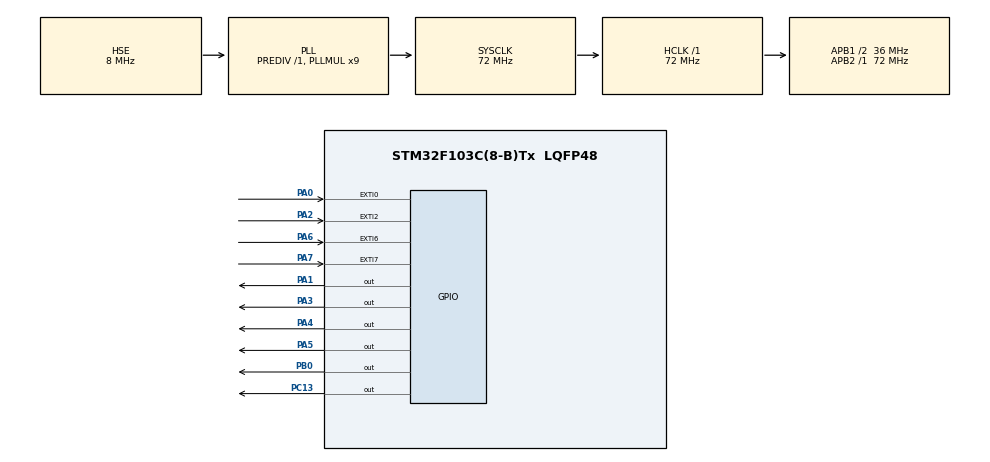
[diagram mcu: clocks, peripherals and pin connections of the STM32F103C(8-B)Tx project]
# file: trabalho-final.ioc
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Mcu.Family=STM32F1
Mcu.Name=STM32F103C(8-B)Tx
Mcu.Package=LQFP48
NVIC.EXTI0_IRQn=true\:0\:0\:false\:false\:true\:true\:true\:true
NVIC.EXTI2_IRQn=true\:0\:0\:false\:false\:true\:true\:true\:true
NVIC.EXTI9_5_IRQn=true\:0\:0\:false\:false\:true\:true\:true\:true
NVIC.PriorityGroup=NVIC_PRIORITYGROUP_4
PA0-WKUP.GPIO_ModeDefaultEXTI=GPIO_MODE_IT_RISING_FALLING
PA0-WKUP.GPIO_PuPd=GPIO_PULLUP
PA0-WKUP.Signal=GPXTI0
PA1.Signal=GPIO_Output
PA13.Mode=Serial_Wire
PA13.Signal=SYS_JTMS-SWDIO
PA14.Mode=Serial_Wire
PA14.Signal=SYS_JTCK-SWCLK
PA2.GPIO_ModeDefaultEXTI=GPIO_MODE_IT_RISING_FALLING
PA2.GPIO_PuPd=GPIO_PULLUP
PA2.Signal=GPXTI2
PA3.Signal=GPIO_Output
PA4.Signal=GPIO_Output
PA5.Signal=GPIO_Output
PA6.GPIO_ModeDefaultEXTI=GPIO_MODE_IT_RISING_FALLING
PA6.GPIO_PuPd=GPIO_PULLUP
PA6.Signal=GPXTI6
PA7.GPIO_ModeDefaultEXTI=GPIO_MODE_IT_RISING_FALLING
PA7.GPIO_PuPd=GPIO_PULLUP
PA7.Signal=GPXTI7
PB0.Signal=GPIO_Output
PC13-TAMPER-RTC.Signal=GPIO_Output
PD0-OSC_IN.Mode=HSE-External-Oscillator
PD0-OSC_IN.Signal=RCC_OSC_IN
PD1-OSC_OUT.Mode=HSE-External-Oscillator
PD1-OSC_OUT.Signal=RCC_OSC_OUT
ProjectManager.HeapSize=0x200
ProjectManager.StackSize=0x400
ProjectManager.TargetToolchain=CMake
RCC.AHBFreq_Value=72000000
RCC.APB1CLKDivider=RCC_HCLK_DIV2
RCC.APB1Freq_Value=36000000
RCC.APB1TimFreq_Value=72000000
RCC.APB2Freq_Value=72000000
RCC.APB2TimFreq_Value=72000000
RCC.HCLKFreq_Value=72000000
RCC.PLLMUL=RCC_PLL_MUL9
RCC.PLLSourceVirtual=RCC_PLLSOURCE_HSE
RCC.SYSCLKFreq_VALUE=72000000
RCC.SYSCLKSource=RCC_SYSCLKSOURCE_PLLCLK
RCC.USBFreq_Value=72000000
board=custom

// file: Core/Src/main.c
/* USER CODE BEGIN Header */
/**
  ******************************************************************************
  * @file           : main.c
  * @brief          : Main program body
  ******************************************************************************
  */
/* USER CODE END Header */

#include "main.h"

/* USER CODE BEGIN Includes */
#include <stdlib.h> // CONCEITO: "Includes" são como pegar ferramentas ou manuais
                    // emprestados de uma biblioteca. O "stdlib.h" nos dá a
                    // ferramenta para gerar números aleatórios (para sortear os LEDs).
/* USER CODE END Includes */

/* USER CODE BEGIN PTD */

// CONCEITO: "Struct" (Estrutura) é como criar uma ficha de cadastro personalizada.
// Em vez de termos variáveis soltas para cada botão, criamos uma "ficha" chamada Botao
// que guarda todas as informações que precisamos saber sobre ele em um lugar só.
typedef struct {
  uint8_t   evento;             // O botão foi apertado ou solto? (1 = sim, 0 = não)
  uint32_t  ultimoTick;         // Quando foi a última vez que mexeram nele? (para ignorar ruídos)
  uint8_t   pressionado;        // Ele está afundado agora? (1 = sim, 0 = não)
  uint32_t  tempoPressionado;   // Em que milissegundo ele foi afundado?
} Botao;

// CONCEITO: "Enum" é uma lista de opções fixas, como as marchas de um carro (P, R, N, D).
// Aqui definimos os 3 "modos de humor" (Estados) em que a nossa placa pode estar.
typedef enum {
  ESTADO_IDLE,        // Modo de descanso (luzes piscando em círculo)
  ESTADO_JOGAR,       // Modo de jogo valendo
  ESTADO_CONFIGURAR   // Modo para escolher a dificuldade
} Estado;

/* USER CODE END PTD */

/* USER CODE BEGIN PD */

// CONCEITO: "Defines" são apelidos. Para o humano é mais fácil ler "LED_VERM" (Led Vermelho).
// Para a máquina, é mais fácil entender "GPIO_PIN_1". O define faz a tradução automática.
#define PORTA_DOS_LEDS  GPIOA
#define LED_VERM        GPIO_PIN_1
#define LED_AMAR        GPIO_PIN_3
#define LED_AZUL        GPIO_PIN_4
#define LED_VERD        GPIO_PIN_5

#define PORTA_DOS_BOTOES GPIOA
#define BOTAO_VERM       GPIO_PIN_0
#define BOTAO_AMAR       GPIO_PIN_2
#define BOTAO_AZUL       GPIO_PIN_7
#define BOTAO_VER        GPIO_PIN_6

#define PORTA_DO_BUZZER GPIOB
#define BUZZER          GPIO_PIN_0

#define MS_DE_DEBOUNCE 40     // Tempo para ignorar o "tremor" mecânico da mola do botão
#define MS_SEGURANDO 800      // Tempo mínimo (em milissegundos) para considerar que o botão foi "segurado"

/* USER CODE END PD */

/* USER CODE BEGIN PV */

// CONCEITO: Variáveis são "caixinhas" na memória onde guardamos números.
// Quando usamos colchetes [4], criamos um "Array" (como um armário com 4 gavetas),
// onde guardamos os pinos de todos os 4 LEDs de uma vez só.
uint16_t leds[4] = {
    LED_VERM,
    LED_AMAR,
    LED_AZUL,
    LED_VERD
};

// Criamos 4 "fichas de cadastro" (Structs que definimos lá em cima), uma para cada botão.
Botao botoes[4];

uint16_t pinos_botoes[4] = {
  BOTAO_VERM,
  BOTAO_AMAR,
  BOTAO_AZUL,
  BOTAO_VER
};

Estado estado_atual = ESTADO_IDLE; // A placa sempre liga no modo de descanso (IDLE)

// Configurações do jogo
uint8_t modo_pvp     = 0; // 0 = joga contra a máquina, 1 = joga contra outra pessoa
uint8_t dificuldade  = 1; // 0 = difícil, 1 = médio, 3 = fácil
uint32_t tempo_led   = 700;
uint32_t tempo_input = 2500;

// Variáveis do motor do jogo
uint8_t sequencia[32];     // Um armário com 32 gavetas: guarda até 32 cores sorteadas!
uint8_t sequencia_len = 0; // Quantas cores a sequência atual tem?
uint8_t passo_atual   = 0; // Em qual cor o jogador está no momento?
uint8_t fase_jogo     = 0; // 0 = Mostrar cores, 1 = Repetir, 2 = Criar cor (PVP), 3 = Pausa
uint32_t timer_jogo   = 0; // Um cronômetro interno para o jogo

uint8_t vez_do_p1     = 0;

static uint32_t ultima_vez_no_systick = 0; // Cronômetro para o LED da placa piscar

/* USER CODE END PV */

void SystemClock_Config(void);
static void MX_GPIO_Init(void);
void processarJogo(void); // Avisamos o sistema que esta função existe
/* USER CODE BEGIN PFP */

// CONCEITO: Uma "Função" é como uma receita de bolo. Você dá os ingredientes (no parênteses)
// e ela te devolve um resultado final. Aqui, damos o pino eletrônico e ela nos diz
// se é o botão 0, 1, 2 ou 3.
int obterIndiceDoBotaoPorPino(uint16_t pino){
  if (pino == BOTAO_VERM) return 0;
  if (pino == BOTAO_AMAR) return 1;
  if (pino == BOTAO_AZUL) return 2;
  if (pino == BOTAO_VER) return 3;
  return -1; // Se não for nenhum, retorna -1 (erro)
}

void iniciarJogo(void) {
    srand(HAL_GetTick());
    sequencia_len = 0;
    passo_atual   = 0;
    vez_do_p1     = 1; // marca de quem é a vez

    if (modo_pvp == 0) {
        // Contra a máquina: já sorteia a primeira cor e vai pra PAUSA
        sequencia[sequencia_len++] = rand() % 4;
        fase_jogo = 3; // Começa na fase de "respiro"
        timer_jogo = HAL_GetTick();
    } else {
        // PVP: Sequência vazia, vai direto pedir pro Player 1 criar a cor
        fase_jogo = 2; // Fase de criar a cor
        timer_jogo = HAL_GetTick();
    }
}

void trocarEstado(void){
  // Troca a "marcha" do jogo dependendo de onde estamos agora
  switch (estado_atual) {
    case ESTADO_CONFIGURAR:
      estado_atual = ESTADO_JOGAR;
      iniciarJogo(); // Quando sai da configuração, liga o jogo!
      break;

    case ESTADO_JOGAR:
      estado_atual = ESTADO_IDLE;
      break;

    case ESTADO_IDLE:
      estado_atual = ESTADO_CONFIGURAR;
      break;

  }
}

void ajustarLeds(void){
  // Primeiro, apaga todos os LEDs
  for (int i = 0; i < 4; i++){
    HAL_GPIO_WritePin(PORTA_DOS_LEDS, leds[i], GPIO_PIN_RESET);
  }
  // Se estivermos na tela de configurar, acende apenas o LED da dificuldade escolhida
  if (estado_atual == ESTADO_CONFIGURAR){
    HAL_GPIO_WritePin(PORTA_DOS_LEDS, leds[dificuldade], GPIO_PIN_SET);
  }
}

void game_over(void) {
    // Pisca todos os LEDs e apita 3 vezes para avisar que perdeu
    for (int x = 0; x < 3; x++) {
        HAL_GPIO_WritePin(PORTA_DOS_LEDS, LED_VERM|LED_AMAR|LED_AZUL|LED_VERD, GPIO_PIN_SET);
        HAL_GPIO_WritePin(PORTA_DO_BUZZER, BUZZER, GPIO_PIN_SET);
        HAL_Delay(100); // Congela a placa por 100 milissegundos, aqui não faz mal congelar ela.
        HAL_GPIO_WritePin(PORTA_DOS_LEDS, LED_VERM|LED_AMAR|LED_AZUL|LED_VERD, GPIO_PIN_RESET);
        HAL_GPIO_WritePin(PORTA_DO_BUZZER, BUZZER, GPIO_PIN_RESET);
        HAL_Delay(100);
    }
    trocarEstado();  // Sai do JOGAR e vai para IDLE
}

// Essa função olha para todos os botões e decide se alguém apertou algo
void processarBotao(void){
    uint32_t agora = HAL_GetTick(); // Que horas são agora? (em milissegundos)

    // Repete o bloco abaixo 4 vezes (uma para cada botão)
    for (int i = 0; i < 4; i++){
        if (!botoes[i].evento) continue; // Se o botão não avisou de novidade, ignora.

        // Se a novidade aconteceu rápido demais (menos de 40ms), é ruído do metal. Ignora!
        if (agora - botoes[i].ultimoTick < MS_DE_DEBOUNCE){
            botoes[i].evento = 0;
            continue;
        }

        // Lê se o botão está no fundo (RESET/Apertado) ou em cima (SET/Solto)
        uint8_t estado_do_pino = HAL_GPIO_ReadPin(PORTA_DOS_BOTOES, pinos_botoes[i]);

        // ── PRESSIONADO ─────────────────────────────────
        if (estado_do_pino == GPIO_PIN_RESET)
        {
            botoes[i].pressionado = 1;
            botoes[i].tempoPressionado = agora; // Marca no relógio a hora que afundou
            botoes[i].evento = 0;

            // NOVO: Feedback visual! Se é a vez do jogador, acende o LED assim que ele afunda o dedo.
            if (estado_atual == ESTADO_JOGAR && fase_jogo == 1) {
                HAL_GPIO_WritePin(PORTA_DOS_LEDS, leds[i], GPIO_PIN_SET);
            }
        }
        // ── SOLTO ────────────────────────────────────────
        else
        {
            // Calcula quanto tempo ficou afundado
            uint32_t duracao = agora - botoes[i].tempoPressionado;
            botoes[i].pressionado = 0;
            botoes[i].evento = 0;
            botoes[i].ultimoTick = agora;

            // NOVO: O dedo soltou o botão, então apagamos o LED imediatamente.
            if (estado_atual == ESTADO_JOGAR && fase_jogo == 1) {
                HAL_GPIO_WritePin(PORTA_DOS_LEDS, leds[i], GPIO_PIN_RESET);
            }

            if (duracao >= MS_SEGURANDO) // Se ficou segurando mais de 800ms
            {
                if (i == 1){ // Se foi o botão amarelo (índice 1)
                  trocarEstado();
                  ajustarLeds();
                }
            }
            else // Se foi um clique rápido
            {
                switch (estado_atual) {
                  case ESTADO_IDLE:
                    break; // Não faz nada no descanso

                  case ESTADO_JOGAR:
                    if (fase_jogo == 1) { // ── O JOGADOR ESTÁ REPETINDO ──
                      if (i == sequencia[passo_atual]) {  // Acertou a cor!
                          HAL_GPIO_TogglePin(PORTA_DO_BUZZER, BUZZER);
                          passo_atual++;
                          timer_jogo = HAL_GetTick();

                          if (passo_atual >= sequencia_len) {
                              // Acertou tudo! O que acontece agora?
                              if (modo_pvp == 0) {
                                  // Máquina: Sorteia uma cor sozinha e vai pra pausa
                                  if (sequencia_len < 32) {
                                    sequencia[sequencia_len++] = rand() % 4;
                                  } else {
                                      // jogador ganhou, faz algo especial
                                      game_over();  // ou uma animação de vitória
                                  }
                                  passo_atual = 0;
                                  fase_jogo = 3;
                                  timer_jogo = HAL_GetTick();
                              } else {
                                  // PVP: Fica aguardando o jogador inventar o próximo passo
                                  fase_jogo = 2;
                                  timer_jogo = HAL_GetTick();
                              }
                          }
                      } else {
                          game_over();  // Apertou o botão errado.
                      }
                    }
                    else if (fase_jogo == 2) { // ── PVP: O JOGADOR ESTÁ CRIANDO A COR ──
                        HAL_GPIO_TogglePin(PORTA_DO_BUZZER, BUZZER);
                        if (sequencia_len < 32) {
                          sequencia[sequencia_len++] = rand() % 4;
                        } else {
                          // jogador ganhou, faz algo especial
                          game_over();  // ou uma animação de vitória
                        }
                        passo_atual = 0;
                        vez_do_p1 = !vez_do_p1; // Troca a vez do jogador
                        fase_jogo = 3; // Vai para a pausa de 1 segundo
                        timer_jogo = HAL_GetTick();
                    }
                    break;

                  case ESTADO_CONFIGURAR:
                    if (i == 0) { // Dificil (Botão vermelho)
                        dificuldade = 0;
                        tempo_led   = 400;  // Pisca mais rápido
                        tempo_input = 1500; // Menos tempo pra pensar
                        HAL_GPIO_WritePin(PORTA_DOS_LEDS, LED_VERM, GPIO_PIN_SET);
                        HAL_GPIO_WritePin(PORTA_DOS_LEDS, LED_AMAR, GPIO_PIN_RESET);
                        HAL_GPIO_WritePin(PORTA_DOS_LEDS, LED_VERD, GPIO_PIN_RESET);
                    }
                    if (i == 1) { // Média (Botão amarelo)
                        dificuldade = 1;
                        tempo_led   = 700;
                        tempo_input = 2500;
                        HAL_GPIO_WritePin(PORTA_DOS_LEDS, LED_VERM, GPIO_PIN_RESET);
                        HAL_GPIO_WritePin(PORTA_DOS_LEDS, LED_AMAR, GPIO_PIN_SET);
                        HAL_GPIO_WritePin(PORTA_DOS_LEDS, LED_VERD, GPIO_PIN_RESET);
                    }
                    if (i == 3) { // Fácil (Botão verde)
                        dificuldade = 3;
                        tempo_led   = 1000; // Pisca bem devagar
                        tempo_input = 4000; // Dá 4 segundos para pensar
                        HAL_GPIO_WritePin(PORTA_DOS_LEDS, LED_VERM, GPIO_PIN_RESET);
                        HAL_GPIO_WritePin(PORTA_DOS_LEDS, LED_AMAR, GPIO_PIN_RESET);
                        HAL_GPIO_WritePin(PORTA_DOS_LEDS, LED_VERD, GPIO_PIN_SET);
                    }
                    if (i == 2) { // PVP (Botão azul)
                        modo_pvp = !modo_pvp; // Inverte o modo (liga/desliga)
                    }
                    break;
                }
            }
        }
    }
}

// CONCEITO: Essa é a função principal que processa a lógica de tempo do jogo.
void processarJogo(void) {
    uint32_t agora = HAL_GetTick(); // Pega a hora atual do cronômetro interno

    // Variáveis "static" não morrem quando a função acaba, elas guardam o último valor.
    static uint32_t timer_animacao = 0;
    static uint8_t led_acesso_i_idle = 0;
    static uint8_t pulsos = 0;

    switch (estado_atual) {
        case ESTADO_IDLE:
            // Faz um giro pelos LEDs a cada 150 milissegundos
            if (agora - timer_animacao >= 150) {
                timer_animacao = agora;
                // Apaga o LED anterior e acende o atual
                HAL_GPIO_WritePin(PORTA_DOS_LEDS, leds[(led_acesso_i_idle + 3) % 4], GPIO_PIN_RESET);
                HAL_GPIO_WritePin(PORTA_DOS_LEDS, leds[led_acesso_i_idle], GPIO_PIN_SET);
                led_acesso_i_idle = (led_acesso_i_idle + 1) % 4; // Avança para o próximo da fila
            }
            break;

        case ESTADO_JOGAR:
            if (fase_jogo == 3) { // Pausa dramática antes de mostrar
                // Fica 1000ms (1 seg) aguardando antes de começar a piscar
                if (agora - timer_jogo > 1000) {
                    fase_jogo = 0; // Acabou a pausa, vai para a fase de mostrar
                    timer_jogo = agora;
                }
            }
            else if (fase_jogo == 0) {  // Modo: Máquina mostrando as cores
                if (agora - timer_jogo < tempo_led) {
                    HAL_GPIO_WritePin(PORTA_DOS_LEDS, leds[sequencia[passo_atual]], GPIO_PIN_SET);
                    HAL_GPIO_WritePin(PORTA_DO_BUZZER, BUZZER, GPIO_PIN_SET);
                }
                else if (agora - timer_jogo < (tempo_led + 200)) {
                    HAL_GPIO_WritePin(PORTA_DOS_LEDS, leds[sequencia[passo_atual]], GPIO_PIN_RESET);
                    HAL_GPIO_WritePin(PORTA_DO_BUZZER, BUZZER, GPIO_PIN_RESET);
                }
                else {
                    passo_atual++;
                    timer_jogo = agora;

                    if (passo_atual >= sequencia_len) {
                        passo_atual = 0;
                        fase_jogo   = 1;    // Passa a vez pro jogador repetir
                        timer_jogo  = agora;
                    }
                }
            }
            else if (fase_jogo == 1) {  // Modo: Esperando clique (Repetir ou Criar)
                if (agora - timer_jogo > tempo_input) {
                    game_over();  // Demorou demais pra apertar? Morreu.
                }
            }
            break;

        case ESTADO_CONFIGURAR:
            // Animação para mostrar se estamos no modo PVP ou Máquina
            if (agora - timer_animacao >= 150) {
                timer_animacao = agora;
                if (modo_pvp == 0) {
                    if (pulsos < 1) {
                        HAL_GPIO_TogglePin(PORTA_DOS_LEDS, leds[2]); // Pisca o LED azul
                        pulsos++;
                    } else {
                        pulsos = 0;
                    }
                } else {
                    HAL_GPIO_TogglePin(PORTA_DOS_LEDS, leds[2]);
                    pulsos++;
                    if (pulsos >= 4) pulsos = 0;
                }
            }
            break;
    }
}

/* USER CODE END PFP */

/* USER CODE BEGIN 0 */

// CONCEITO: Uma "Interrupção" (Callback) é como alguém tocando a campainha da sua casa.
// Não importa o que a placa esteja fazendo (cozinhando, limpando), ela para imediatamente,
// abre a porta, e executa essa função. Aqui, a porta é um botão sendo apertado.
void HAL_GPIO_EXTI_Callback(uint16_t GPIO_Pin){
  int i = obterIndiceDoBotaoPorPino(GPIO_Pin);
  if (i < 0) return; // Se não é um dos 4 botões, ignora.

  botoes[i].evento = 1; // "Levanta a bandeira" avisando que esse botão foi tocado.
}

// CONCEITO: O "SysTick" é o coração da placa batendo a cada 1 milissegundo.
// Limpamos ele para fazer o mínimo de esforço possível, assim a placa não trava.
void HAL_SYSTICK_Callback(void){
  uint32_t agora = HAL_GetTick();

  // Acende e apaga o LED da placa (PC13) a cada 150ms apenas para sabermos que ela está ligada.
  if (agora - ultima_vez_no_systick >= 50) {
      HAL_GPIO_TogglePin(GPIOC, GPIO_PIN_13);
      ultima_vez_no_systick = agora;
  }
}

/* USER CODE END 0 */

int main(void)
{
  /* MCU Configuration--------------------------------------------------------*/

  /* Reset of all peripherals, Initializes the Flash interface and the Systick. */
  HAL_Init();

  /* Configure the system clock */
  SystemClock_Config();

  /* Initialize all configured peripherals */
  MX_GPIO_Init();

  /* Infinite loop */
  /* USER CODE BEGIN WHILE */

  // CONCEITO: O Loop Principal (while(1)) é a rotina eterna do microcontrolador.
  // Ele vai ler e executar essas duas linhas sem parar, milhões de vezes por segundo,
  // até alguém puxar o cabo da tomada.
  while (1)
  {
    /* USER CODE END WHILE */

    /* USER CODE BEGIN 3 */
    processarBotao(); // 1. Verifica se alguém apertou algum botão
    processarJogo();  // 2. Processa as regras, luzes e tempos do jogo
  }
  /* USER CODE END 3 */
}

// NOTA: As funções de configuração de hardware (SystemClock_Config, MX_GPIO_Init, etc.)
// geradas automaticamente pelo STM32Cube foram mantidas intactas, ocultadas aqui por brevidade
// já que você não precisa alterá-las para a lógica do jogo funcionar.

void SystemClock_Config(void)
{
  RCC_OscInitTypeDef RCC_OscInitStruct = {0};
  RCC_ClkInitTypeDef RCC_ClkInitStruct = {0};

  RCC_OscInitStruct.OscillatorType = RCC_OSCILLATORTYPE_HSE;
  RCC_OscInitStruct.HSEState = RCC_HSE_ON;
  RCC_OscInitStruct.HSEPredivValue = RCC_HSE_PREDIV_DIV1;
  RCC_OscInitStruct.HSIState = RCC_HSI_ON;
  RCC_OscInitStruct.PLL.PLLState = RCC_PLL_ON;
  RCC_OscInitStruct.PLL.PLLSource = RCC_PLLSOURCE_HSE;
  RCC_OscInitStruct.PLL.PLLMUL = RCC_PLL_MUL9;
  if (HAL_RCC_OscConfig(&RCC_OscInitStruct) != HAL_OK)
  {
    Error_Handler();
  }

  RCC_ClkInitStruct.ClockType = RCC_CLOCKTYPE_HCLK|RCC_CLOCKTYPE_SYSCLK
                              |RCC_CLOCKTYPE_PCLK1|RCC_CLOCKTYPE_PCLK2;
  RCC_ClkInitStruct.SYSCLKSource = RCC_SYSCLKSOURCE_PLLCLK;
  RCC_ClkInitStruct.AHBCLKDivider = RCC_SYSCLK_DIV1;
  RCC_ClkInitStruct.APB1CLKDivider = RCC_HCLK_DIV2;
  RCC_ClkInitStruct.APB2CLKDivider = RCC_HCLK_DIV1;

  if (HAL_RCC_ClockConfig(&RCC_ClkInitStruct, FLASH_LATENCY_2) != HAL_OK)
  {
    Error_Handler();
  }
}

static void MX_GPIO_Init(void)
{
  GPIO_InitTypeDef GPIO_InitStruct = {0};

  /* GPIO Ports Clock Enable */
  __HAL_RCC_GPIOC_CLK_ENABLE();
  __HAL_RCC_GPIOD_CLK_ENABLE();
  __HAL_RCC_GPIOA_CLK_ENABLE();
  __HAL_RCC_GPIOB_CLK_ENABLE();

  HAL_GPIO_WritePin(GPIOC, GPIO_PIN_13, GPIO_PIN_RESET);
  HAL_GPIO_WritePin(GPIOA, GPIO_PIN_1|GPIO_PIN_3|GPIO_PIN_4|GPIO_PIN_5, GPIO_PIN_RESET);
  HAL_GPIO_WritePin(GPIOB, GPIO_PIN_0, GPIO_PIN_RESET);

  GPIO_InitStruct.Pin = GPIO_PIN_13;
  GPIO_InitStruct.Mode = GPIO_MODE_OUTPUT_PP;
  GPIO_InitStruct.Pull = GPIO_NOPULL;
  GPIO_InitStruct.Speed = GPIO_SPEED_FREQ_LOW;
  HAL_GPIO_Init(GPIOC, &GPIO_InitStruct);

  GPIO_InitStruct.Pin = GPIO_PIN_0|GPIO_PIN_2|GPIO_PIN_6|GPIO_PIN_7;
  GPIO_InitStruct.Mode = GPIO_MODE_IT_RISING_FALLING;
  GPIO_InitStruct.Pull = GPIO_PULLUP;
  HAL_GPIO_Init(GPIOA, &GPIO_InitStruct);

  GPIO_InitStruct.Pin = GPIO_PIN_1|GPIO_PIN_3|GPIO_PIN_4|GPIO_PIN_5;
  GPIO_InitStruct.Mode = GPIO_MODE_OUTPUT_PP;
  GPIO_InitStruct.Pull = GPIO_NOPULL;
  GPIO_InitStruct.Speed = GPIO_SPEED_FREQ_LOW;
  HAL_GPIO_Init(GPIOA, &GPIO_InitStruct);

  GPIO_InitStruct.Pin = GPIO_PIN_0;
  GPIO_InitStruct.Mode = GPIO_MODE_OUTPUT_PP;
  GPIO_InitStruct.Pull = GPIO_NOPULL;
  GPIO_InitStruct.Speed = GPIO_SPEED_FREQ_LOW;
  HAL_GPIO_Init(GPIOB, &GPIO_InitStruct);

  HAL_NVIC_SetPriority(EXTI0_IRQn, 0, 0);
  HAL_NVIC_EnableIRQ(EXTI0_IRQn);
  HAL_NVIC_SetPriority(EXTI2_IRQn, 0, 0);
  HAL_NVIC_EnableIRQ(EXTI2_IRQn);
  HAL_NVIC_SetPriority(EXTI9_5_IRQn, 0, 0);
  HAL_NVIC_EnableIRQ(EXTI9_5_IRQn);
}

void Error_Handler(void)
{
  __disable_irq();
  while (1)
  {
  }
}
